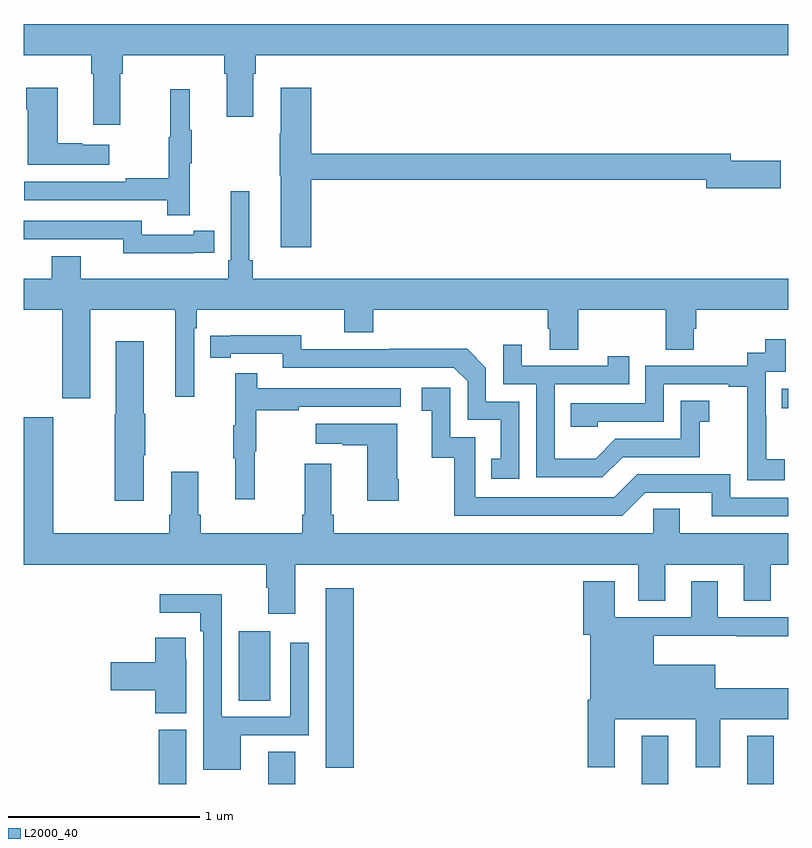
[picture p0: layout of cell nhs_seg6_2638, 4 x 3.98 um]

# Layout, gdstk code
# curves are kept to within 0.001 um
import gdstk
lib = gdstk.Library(unit=1e-6, precision=1e-09)
def R(c, l, rs):  # rectangles x0, y0, x1, y1
    for r in rs: c.add(gdstk.rectangle(r[:2], r[2:], *l))
def P(c, l, *ps):  # polygons
    for p in ps: c.add(gdstk.Polygon(p, *l))
L2000_40 = (2000, 40)

nhs_seg6_2638 = lib.new_cell('nhs_seg6_2638')
R(nhs_seg6_2638, L2000_40, [(267.707,967.5,267.85,967.785), (268.28,967.5,268.42,967.67), (270.233,967.5,270.373,967.753), (270.785,967.5,270.925,967.753), (268.58,967.584,268.727,968.524), (268.124,967.936,268.291,968.299), (270.967,969.466,271,969.567)])
P(nhs_seg6_2638, L2000_40, [(267,971.312),(267.353,971.312),(267.353,971.216),(267.365,971.216),(267.365,970.95),(267.505,970.95),(267.505,971.216),(267.518,971.216),(267.518,971.312),(268.049,971.312),(268.049,971.216),(268.061,971.216),(268.061,970.992),(268.201,970.992),(268.201,971.216),(268.214,971.216),(268.214,971.312),(271,971.312),(271,971.476),(267,971.476)],
  [(268.505,970.66),(270.572,970.66),(270.572,970.618),(270.961,970.618),(270.961,970.76),(270.7,970.76),(270.7,970.796),(268.505,970.796),(268.505,971.143),(268.346,971.143),(268.346,970.904),(268.339,970.904),(268.339,970.683),(268.346,970.683),(268.346,970.308),(268.505,970.308)],
  [(267.448,970.843),(267.305,970.843),(267.305,970.853),(267.178,970.853),(267.178,971.143),(267.013,971.143),(267.013,971.03),(267.02,971.03),(267.02,970.739),(267.448,970.739)],
  [(267.869,970.747),(267.88,970.747),(267.88,970.921),(267.869,970.921),(267.869,971.134),(267.766,971.134),(267.766,970.884),(267.759,970.884),(267.759,970.67),(267.535,970.67),(267.535,970.65),(267.003,970.65),(267.003,970.554),(267.751,970.554),(267.751,970.476),(267.869,970.476)],
  [(267.202,969.519),(267.349,969.519),(267.349,969.98),(267.794,969.98),(267.794,969.525),(267.891,969.525),(267.891,969.884),(267.905,969.884),(267.905,969.98),(268.676,969.98),(268.676,969.863),(268.829,969.863),(268.829,969.98),(269.741,969.98),(269.741,969.882),(269.753,969.882),(269.753,969.772),(269.901,969.772),(269.901,969.98),(270.358,969.98),(270.358,969.772),(270.505,969.772),(270.505,969.882),(270.518,969.882),(270.518,969.98),(271,969.98),(271,970.144),(268.199,970.144),(268.199,970.24),(268.18,970.24),(268.18,970.6),(268.083,970.6),(268.083,970.24),(268.07,970.24),(268.07,970.144),(267.298,970.144),(267.298,970.261),(267.146,970.261),(267.146,970.144),(267,970.144),(267,969.98),(267.202,969.98)],
  [(267.89,970.278),(267.998,970.278),(267.998,970.394),(267.89,970.394),(267.89,970.374),(267.618,970.374),(267.618,970.446),(267,970.446),(267,970.349),(267.062,970.349),(267.062,970.35),(267.522,970.35),(267.522,970.277),(267.89,970.277)],
  [(269.592,969.501),(269.418,969.501),(269.418,969.678),(269.32,969.776),(268.912,969.776),(268.912,969.774),(268.452,969.774),(268.452,969.847),(267.976,969.846),(267.976,969.73),(268.084,969.73),(268.084,969.75),(268.356,969.75),(268.356,969.678),(269.25,969.678),(269.322,969.606),(269.322,969.405),(269.495,969.405),(269.495,969.201),(269.446,969.201),(269.446,969.096),(269.592,969.096)],
  [(270.982,969.199),(270.884,969.199),(270.884,969.428),(270.882,969.428),(270.882,969.657),(270.987,969.657),(270.987,969.826),(270.879,969.826),(270.879,969.756),(270.786,969.756),(270.786,969.687),(270.252,969.687),(270.252,969.492),(269.863,969.492),(269.863,969.369),(270.003,969.369),(270.003,969.396),(270.348,969.396),(270.348,969.591),(270.689,969.591),(270.689,969.579),(270.785,969.579),(270.785,969.295),(270.784,969.295),(270.784,969.089),(270.982,969.089)],
  [(267.628,969.22),(267.636,969.22),(267.636,969.437),(267.628,969.437),(267.628,969.817),(267.482,969.817),(267.482,969.431),(267.475,969.431),(267.475,968.982),(267.628,968.982)],
  [(270.133,969.21),(270.537,969.21),(270.537,969.395),(270.586,969.395),(270.586,969.505),(270.438,969.505),(270.438,969.306),(270.096,969.306),(269.992,969.202),(269.778,969.202),(269.778,969.591),(270.167,969.591),(270.167,969.739),(270.056,969.739),(270.056,969.687),(269.605,969.687),(269.605,969.799),(269.508,969.799),(269.508,969.591),(269.682,969.591),(269.682,969.105),(270.028,969.105)],
  [(268.208,969.24),(268.216,969.24),(268.216,969.454),(268.439,969.454),(268.439,969.474),(268.972,969.474),(268.972,969.57),(268.223,969.57),(268.223,969.649),(268.106,969.649),(268.106,969.377),(268.095,969.377),(268.095,969.203),(268.106,969.203),(268.106,968.991),(268.208,968.991)],
  [(271,968.997),(270.696,968.997),(270.696,969.12),(270.21,969.12),(270.09,969),(269.361,969),(269.361,969.315),(269.232,969.315),(269.232,969.574),(269.082,969.574),(269.082,969.453),(269.135,969.453),(269.135,969.207),(269.253,969.207),(269.253,968.904),(270.132,968.904),(270.252,969.024),(270.599,969.024),(270.599,968.901),(271,968.901)],
  [(268.42,968.648),(270.215,968.648),(270.215,968.458),(270.355,968.458),(270.355,968.648),(270.767,968.648),(270.767,968.458),(270.907,968.458),(270.907,968.648),(271,968.648),(271,968.812),(270.433,968.812),(270.433,968.939),(270.294,968.939),(270.294,968.812),(268.622,968.812),(268.622,968.908),(268.609,968.908),(268.609,969.175),(268.469,969.175),(268.469,968.908),(268.457,968.908),(268.457,968.812),(267.926,968.812),(267.926,968.908),(267.913,968.908),(267.913,969.133),(267.773,969.133),(267.773,968.908),(267.761,968.908),(267.761,968.812),(267.154,968.812),(267.154,969.418),(267,969.418),(267,968.648),(268.268,968.648),(268.268,968.528),(268.28,968.528),(268.28,968.391),(268.42,968.391)],
  [(268.962,969.094),(268.954,969.094),(268.954,969.385),(268.527,969.385),(268.527,969.281),(268.67,969.281),(268.67,969.271),(268.796,969.271),(268.796,968.982),(268.962,968.982)],
  [(270.091,967.838),(270.515,967.838),(270.515,967.587),(270.643,967.587),(270.643,967.838),(271,967.838),(271,968.002),(270.619,968.002),(270.619,968.125),(270.295,968.125),(270.295,968.276),(270.727,968.276),(270.727,968.272),(271,968.272),(271,968.373),(270.631,968.373),(270.631,968.56),(270.491,968.56),(270.491,968.373),(270.091,968.373),(270.091,968.56),(269.927,968.56),(269.927,968.28),(269.963,968.28),(269.963,967.942),(269.951,967.942),(269.951,967.587),(270.091,967.587)],
  [(268.135,967.755),(268.491,967.755),(268.491,968.239),(268.395,968.239),(268.395,967.851),(268.035,967.851),(268.035,968.494),(267.711,968.494),(267.711,968.396),(267.923,968.396),(267.923,968.3),(267.939,968.3),(267.939,967.574),(268.135,967.574)],
  [(267.85,968.153),(267.849,968.153),(267.849,968.266),(267.689,968.266),(267.689,968.138),(267.456,968.138),(267.456,967.991),(267.689,967.991),(267.689,967.87),(267.85,967.87)])

lib.write_gds('nhs_seg6_2638.gds')
